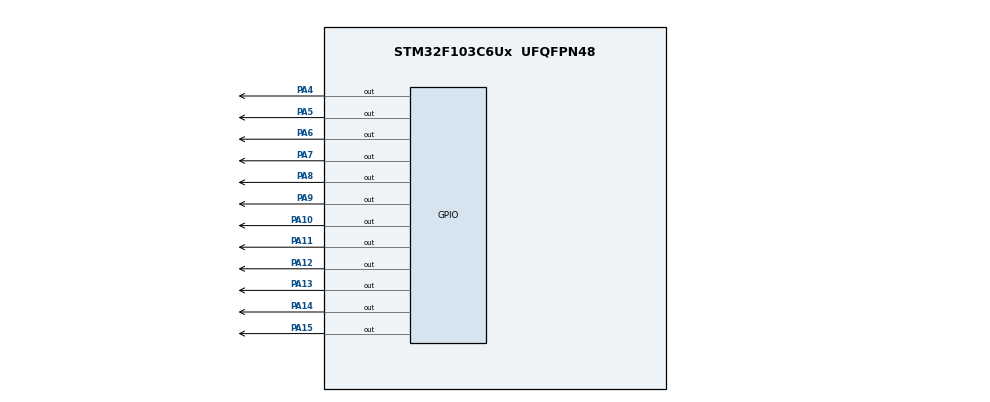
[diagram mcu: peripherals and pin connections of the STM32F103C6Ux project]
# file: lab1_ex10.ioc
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Mcu.Family=STM32F1
Mcu.Name=STM32F103C6Ux
Mcu.Package=UFQFPN48
NVIC.PriorityGroup=NVIC_PRIORITYGROUP_4
PA10.Signal=GPIO_Output
PA11.Signal=GPIO_Output
PA12.Signal=GPIO_Output
PA13.Signal=GPIO_Output
PA14.Signal=GPIO_Output
PA15.Signal=GPIO_Output
PA4.Signal=GPIO_Output
PA5.Signal=GPIO_Output
PA6.Signal=GPIO_Output
PA7.Signal=GPIO_Output
PA8.Signal=GPIO_Output
PA9.Signal=GPIO_Output
ProjectManager.HeapSize=0x200
ProjectManager.StackSize=0x400
ProjectManager.TargetToolchain=STM32CubeIDE
RCC.APB1Freq_Value=8000000
RCC.APB2Freq_Value=8000000
VP_SYS_VS_ND.Mode=No_Debug
board=custom

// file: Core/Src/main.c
/* USER CODE BEGIN Header */
/**
  ******************************************************************************
  * @file           : main.c
  * @brief          : Main program body
  ******************************************************************************
  * @attention
  *
  * <h2><center>&copy; Copyright (c) 2022 STMicroelectronics.
  * All rights reserved.</center></h2>
  *
  * This software component is licensed by ST under BSD 3-Clause license,
  * the "License"; You may not use this file except in compliance with the
  * License. You may obtain a copy of the License at:
  *                        opensource.org/licenses/BSD-3-Clause
  *
  ******************************************************************************
  */
/* USER CODE END Header */
#include "main.h"

void SystemClock_Config(void);
static void MX_GPIO_Init(void);

int main(void)
{

  /* MCU Configuration--------------------------------------------------------*/

  /* Reset of all peripherals, Initializes the Flash interface and the Systick. */
  HAL_Init();

  /* Configure the system clock */
  SystemClock_Config();

  /* Initialize all configured peripherals */
  MX_GPIO_Init();

  /* Infinite loop */
  /* USER CODE BEGIN WHILE */
  int hour = 1;
  int minute =3;
  int second =1;
  uint8_t t = 0;
  uint8_t h = 0;
  while (1)
  {
    /* USER CODE END WHILE */
	  while(hour <12){
	   	 while(minute <12)
	   		{
	   		 while(second <12)
	   		 {
	   			  setNumonClock(hour);
	   			  setNumonClock(minute);
	   			  setNumonClock(second);
	   			  HAL_Delay(50);
	   			  clearNumOffClock(second);
	   			second++;
	   		 }
	   		 if(second>11) {
	   		 second  = 0;
	   		 //h++;
	   		 }
	   		 if(h == 0){
	   	     h = 0;
	   	     clearNumOffClock(minute);
	   	     minute++;
	   		 }
	   		 }
	   	  if(minute>11){
	   		minute = 0;
	   		  t++;
	   	  }
	   	  if(t == 5){
	  		t = 0;
	  		clearNumOffClock(hour);
	  	  hour++;
	   	  }
	       /* USER CODE BEGIN 3 */
	     }
	     if(hour>11) hour = 0;
    /* USER CODE BEGIN 3 */
  }
  /* USER CODE END 3 */
}

void SystemClock_Config(void)
{
  RCC_OscInitTypeDef RCC_OscInitStruct = {0};
  RCC_ClkInitTypeDef RCC_ClkInitStruct = {0};

  /** Initializes the RCC Oscillators according to the specified parameters
  * in the RCC_OscInitTypeDef structure.
  */
  RCC_OscInitStruct.OscillatorType = RCC_OSCILLATORTYPE_HSI;
  RCC_OscInitStruct.HSIState = RCC_HSI_ON;
  RCC_OscInitStruct.HSICalibrationValue = RCC_HSICALIBRATION_DEFAULT;
  RCC_OscInitStruct.PLL.PLLState = RCC_PLL_NONE;
  if (HAL_RCC_OscConfig(&RCC_OscInitStruct) != HAL_OK)
  {
    Error_Handler();
  }
  /** Initializes the CPU, AHB and APB buses clocks
  */
  RCC_ClkInitStruct.ClockType = RCC_CLOCKTYPE_HCLK|RCC_CLOCKTYPE_SYSCLK
                              |RCC_CLOCKTYPE_PCLK1|RCC_CLOCKTYPE_PCLK2;
  RCC_ClkInitStruct.SYSCLKSource = RCC_SYSCLKSOURCE_HSI;
  RCC_ClkInitStruct.AHBCLKDivider = RCC_SYSCLK_DIV1;
  RCC_ClkInitStruct.APB1CLKDivider = RCC_HCLK_DIV1;
  RCC_ClkInitStruct.APB2CLKDivider = RCC_HCLK_DIV1;

  if (HAL_RCC_ClockConfig(&RCC_ClkInitStruct, FLASH_LATENCY_0) != HAL_OK)
  {
    Error_Handler();
  }
}

static void MX_GPIO_Init(void)
{
  GPIO_InitTypeDef GPIO_InitStruct = {0};

  /* GPIO Ports Clock Enable */
  __HAL_RCC_GPIOA_CLK_ENABLE();

  /*Configure GPIO pin Output Level */
  HAL_GPIO_WritePin(GPIOA, GPIO_PIN_4|GPIO_PIN_5|GPIO_PIN_6|GPIO_PIN_7
                          |GPIO_PIN_8|GPIO_PIN_9|GPIO_PIN_10|GPIO_PIN_11
                          |GPIO_PIN_12|GPIO_PIN_13|GPIO_PIN_14|GPIO_PIN_15, GPIO_PIN_RESET);

  /*Configure GPIO pins : PA4 PA5 PA6 PA7
                           PA8 PA9 PA10 PA11
                           PA12 PA13 PA14 PA15 */
  GPIO_InitStruct.Pin = GPIO_PIN_4|GPIO_PIN_5|GPIO_PIN_6|GPIO_PIN_7
                          |GPIO_PIN_8|GPIO_PIN_9|GPIO_PIN_10|GPIO_PIN_11
                          |GPIO_PIN_12|GPIO_PIN_13|GPIO_PIN_14|GPIO_PIN_15;
  GPIO_InitStruct.Mode = GPIO_MODE_OUTPUT_PP;
  GPIO_InitStruct.Pull = GPIO_NOPULL;
  GPIO_InitStruct.Speed = GPIO_SPEED_FREQ_LOW;
  HAL_GPIO_Init(GPIOA, &GPIO_InitStruct);

}

/* USER CODE BEGIN 4 */
void ClearAllClock(){
	HAL_GPIO_WritePin (GPIOA , GPIO_PIN_4 | GPIO_PIN_5 | GPIO_PIN_6 |
	GPIO_PIN_7 | GPIO_PIN_8 | GPIO_PIN_9 | GPIO_PIN_10 |
	GPIO_PIN_11 | GPIO_PIN_12 | GPIO_PIN_13 | GPIO_PIN_14 |
	GPIO_PIN_15 , GPIO_PIN_RESET );
}
void clearNumOffClock(int num){
switch(num){

case 0 :

	 HAL_GPIO_WritePin (GPIOA , GPIO_PIN_15 , GPIO_PIN_RESET );
	 break;

case 1 :

	 HAL_GPIO_WritePin (GPIOA , GPIO_PIN_4 , GPIO_PIN_RESET );
		 break;

case 2 :

 HAL_GPIO_WritePin (GPIOA , GPIO_PIN_5 , GPIO_PIN_RESET );
break;

case 3 :

	HAL_GPIO_WritePin (GPIOA , GPIO_PIN_6 , GPIO_PIN_RESET );

break;

case 4 :
 HAL_GPIO_WritePin (GPIOA , GPIO_PIN_7 , GPIO_PIN_RESET );

break;

case 5 :
 HAL_GPIO_WritePin (GPIOA , GPIO_PIN_8 , GPIO_PIN_RESET );

break;

case 6 :
 HAL_GPIO_WritePin (GPIOA , GPIO_PIN_9 , GPIO_PIN_RESET );

break;

case 7 :
 HAL_GPIO_WritePin (GPIOA , GPIO_PIN_10, GPIO_PIN_RESET );

break;

case 8 :
 HAL_GPIO_WritePin (GPIOA , GPIO_PIN_11, GPIO_PIN_RESET );

break;

case 9 :
 HAL_GPIO_WritePin (GPIOA , GPIO_PIN_12, GPIO_PIN_RESET );
;
break;

case 10:
 HAL_GPIO_WritePin (GPIOA , GPIO_PIN_13 , GPIO_PIN_RESET );

break;

case 11 :
 HAL_GPIO_WritePin (GPIOA , GPIO_PIN_14, GPIO_PIN_RESET );

break;

default:
break;
}
}
void setNumonClock(int num){
switch(num){

case 0 :

	 HAL_GPIO_WritePin (GPIOA , GPIO_PIN_15 , GPIO_PIN_SET );

	 break;

case 1 :
	 HAL_GPIO_WritePin (GPIOA , GPIO_PIN_4 , GPIO_PIN_SET );

		 break;

case 2 :
	HAL_GPIO_WritePin (GPIOA , GPIO_PIN_5 , GPIO_PIN_SET );

break;

case 3 :

	HAL_GPIO_WritePin (GPIOA , GPIO_PIN_6 , GPIO_PIN_SET );
break;

case 4 :

	HAL_GPIO_WritePin (GPIOA , GPIO_PIN_7 , GPIO_PIN_SET );
break;

case 5 :
	HAL_GPIO_WritePin (GPIOA , GPIO_PIN_8 , GPIO_PIN_SET );
break;

case 6 :

	HAL_GPIO_WritePin (GPIOA , GPIO_PIN_9 , GPIO_PIN_SET );
break;

case 7 :

	HAL_GPIO_WritePin (GPIOA , GPIO_PIN_10, GPIO_PIN_SET );
break;

case 8 :

	HAL_GPIO_WritePin (GPIOA , GPIO_PIN_11, GPIO_PIN_SET );
break;

case 9 :

	HAL_GPIO_WritePin (GPIOA , GPIO_PIN_12, GPIO_PIN_SET );
break;

case 10:

	HAL_GPIO_WritePin (GPIOA , GPIO_PIN_13 , GPIO_PIN_SET );
break;

case 11 :

	HAL_GPIO_WritePin (GPIOA , GPIO_PIN_14, GPIO_PIN_SET );

break;

default:
	break;
}
}
/* USER CODE END 4 */

void Error_Handler(void)
{
  __disable_irq();
  while (1)
  {
  }
}

/************************ (C) COPYRIGHT STMicroelectronics *****END OF FILE****/
